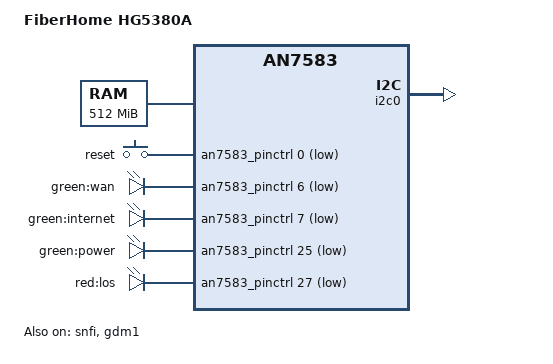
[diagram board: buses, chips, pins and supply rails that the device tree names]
// SPDX-License-Identifier: (GPL-2.0-only OR BSD-2-Clause)
/*
 * FiberHome HG5380A — Airoha AN7583
 *
 * 由原厂 KernelA 内的 DTB 反编译结果整理；分区表与 /proc/mtd 一致。
 * 本机无 WiFi / 无 USB / 无语音：3×GE + 1×2.5G(EN8811H) + 1×PON(EN7572 BOSA)。
 *
 * TODO(上机核对)：reset 键与 LED 的 GPIO 号（当前沿用 AN7583 参考板的取值）。
 */
/dts-v1/;

#include <dt-bindings/leds/common.h>
#include <dt-bindings/gpio/gpio.h>
#include <dt-bindings/input/input.h>
#include "an7583.dtsi"

/ {
	model = "FiberHome HG5380A";
	compatible = "fiberhome,hg5380a", "airoha,an7583";

	chosen {
		bootargs = "console=ttyS0,115200 earlycon";
		stdout-path = "serial0:115200n8";
		linux,usable-memory-range = <0x0 0x80200000 0x0 0x1fe00000>;
	};

	memory@80000000 {
		device_type = "memory";
		reg = <0x0 0x80000000 0x0 0x20000000>;
	};

	keys {
		compatible = "gpio-keys";

		button-0 {
			label = "reset";
			linux,code = <KEY_RESTART>;
			gpios = <&an7583_pinctrl 0 GPIO_ACTIVE_LOW>;
		};
	};

	leds {
		compatible = "gpio-leds";

		led-0 {
			label = "green:wan";
			gpios = <&an7583_pinctrl 6 GPIO_ACTIVE_LOW>;
		};

		led-1 {
			label = "green:internet";
			gpios = <&an7583_pinctrl 7 GPIO_ACTIVE_LOW>;
		};

		led-2 {
			label = "green:power";
			gpios = <&an7583_pinctrl 25 GPIO_ACTIVE_LOW>;
		};

		led-3 {
			label = "red:los";
			gpios = <&an7583_pinctrl 27 GPIO_ACTIVE_LOW>;
		};
	};
};

&snfi {
	status = "okay";
};

&spi_nand {
	partitions {
		compatible = "fixed-partitions";
		#address-cells = <1>;
		#size-cells = <1>;

		partition@0 {
			label = "bootloader";
			reg = <0x0 0x280000>;
		};

		partition@280000 {
			label = "bootflag";
			reg = <0x280000 0x80000>;
		};

		partition@300000 {
			label = "KernelA";
			reg = <0x300000 0x600000>;
		};

		partition@900000 {
			label = "RootfsA";
			reg = <0x900000 0x2800000>;
		};

		partition@3100000 {
			label = "KernelB";
			reg = <0x3100000 0x600000>;
		};

		partition@3700000 {
			label = "RootfsB";
			reg = <0x3700000 0x2800000>;
		};

		partition@5f00000 {
			label = "apps";
			reg = <0x5f00000 0x6800000>;
		};

		partition@c700000 {
			label = "frameworka";
			reg = <0xc700000 0x1000000>;
		};

		partition@d700000 {
			label = "frameworkb";
			reg = <0xd700000 0x1000000>;
		};

		partition@e700000 {
			label = "factory";
			reg = <0xe700000 0x500000>;
		};
	};
};

&i2c0 {
	status = "okay";
};

&gdm1 {
	status = "okay";
};
